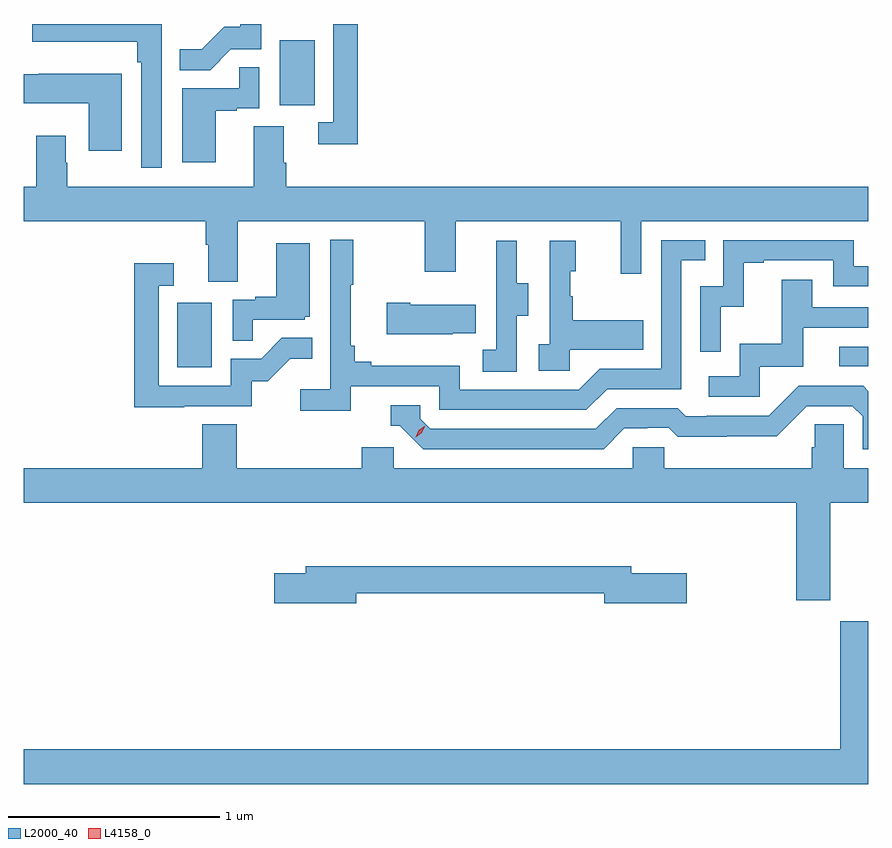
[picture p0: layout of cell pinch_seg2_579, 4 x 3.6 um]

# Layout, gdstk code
import gdstk
lib = gdstk.Library(unit=1e-6, precision=1e-09)
def R(c, l, rs):  # rectangles x0, y0, x1, y1
    for r in rs: c.add(gdstk.rectangle(r[:2], r[2:], *l))
def P(c, l, *ps):  # polygons
    for p in ps: c.add(gdstk.Polygon(p, *l))
L2000_40 = (2000, 40)
L4158_0 = (4158, 0)

pinch_seg2_579 = lib.new_cell('pinch_seg2_579')
R(pinch_seg2_579, L2000_40, [(1060.202,624.3,1060.366,624.607), (1063.335,624.306,1063.474,624.399), (1060.688,625.542,1060.852,625.849)])
P(pinch_seg2_579, L2000_40, [(1060.128,625.926),(1059.516,625.926),(1059.516,625.841),(1060.012,625.841),(1060.012,625.745),(1060.032,625.745),(1060.032,625.245),(1060.128,625.245)],
  [(1060.455,625.806),(1060.599,625.806),(1060.599,625.926),(1060.501,625.926),(1060.501,625.914),(1060.424,625.914),(1060.317,625.807),(1060.213,625.807),(1060.213,625.708),(1060.357,625.708)],
  [(1061.057,625.926),(1060.941,625.926),(1060.941,625.461),(1060.869,625.461),(1060.869,625.356),(1061.057,625.356)],
  [(1060.384,625.515),(1060.484,625.515),(1060.484,625.527),(1060.59,625.527),(1060.59,625.721),(1060.495,625.721),(1060.495,625.623),(1060.226,625.623),(1060.226,625.272),(1060.384,625.272)],
  [(1059.94,625.69),(1059.547,625.69),(1059.547,625.687),(1059.474,625.687),(1059.474,625.55),(1059.782,625.55),(1059.782,625.326),(1059.94,625.326)],
  [(1060.489,624.992),(1061.374,624.992),(1061.374,624.753),(1061.521,624.753),(1061.521,624.992),(1062.302,624.992),(1062.302,624.744),(1062.399,624.744),(1062.399,624.992),(1063.474,624.992),(1063.474,625.156),(1060.718,625.156),(1060.718,625.268),(1060.705,625.268),(1060.705,625.442),(1060.565,625.442),(1060.565,625.156),(1059.681,625.156),(1059.681,625.268),(1059.673,625.268),(1059.673,625.396),(1059.533,625.396),(1059.533,625.156),(1059.474,625.156),(1059.474,624.992),(1060.337,624.992),(1060.337,624.88),(1060.349,624.88),(1060.349,624.706),(1060.489,624.706)],
  [(1061.024,624.21),(1061.442,624.21),(1061.442,624.099),(1062.139,624.099),(1062.238,624.198),(1062.588,624.198),(1062.588,624.807),(1062.701,624.807),(1062.701,624.903),(1062.492,624.903),(1062.492,624.294),(1062.201,624.294),(1062.102,624.195),(1061.538,624.195),(1061.538,624.307),(1061.119,624.307),(1061.119,624.326),(1061.042,624.326),(1061.042,624.403),(1061.023,624.403),(1061.023,624.691),(1061.035,624.691),(1061.035,624.904),(1060.926,624.904),(1060.926,624.196),(1060.785,624.196),(1060.785,624.094),(1061.024,624.094)],
  [(1062.774,624.587),(1062.884,624.587),(1062.884,624.795),(1062.979,624.795),(1062.979,624.807),(1063.308,624.807),(1063.308,624.684),(1063.474,624.684),(1063.474,624.78),(1063.404,624.78),(1063.404,624.903),(1062.786,624.903),(1062.786,624.684),(1062.678,624.684),(1062.678,624.375),(1062.774,624.375)],
  [(1062.06,624.383),(1062.407,624.383),(1062.407,624.523),(1062.073,624.523),(1062.073,624.638),(1062.063,624.638),(1062.063,624.756),(1062.088,624.756),(1062.088,624.901),(1061.964,624.901),(1061.964,624.41),(1061.913,624.41),(1061.913,624.285),(1062.06,624.285)],
  [(1061.808,624.544),(1061.863,624.544),(1061.863,624.699),(1061.809,624.699),(1061.809,624.901),(1061.711,624.901),(1061.711,624.687),(1061.712,624.687),(1061.712,624.383),(1061.649,624.383),(1061.649,624.28),(1061.808,624.28)],
  [(1060.559,624.525),(1060.806,624.525),(1060.806,624.54),(1060.828,624.54),(1060.828,624.889),(1060.67,624.889),(1060.67,624.634),(1060.571,624.634),(1060.571,624.621),(1060.464,624.621),(1060.464,624.427),(1060.559,624.427)],
  [(1060.235,624.117),(1060.554,624.117),(1060.554,624.234),(1060.63,624.234),(1060.737,624.341),(1060.841,624.341),(1060.841,624.44),(1060.697,624.44),(1060.599,624.342),(1060.455,624.342),(1060.455,624.213),(1060.113,624.213),(1060.113,624.687),(1060.186,624.687),(1060.186,624.793),(1059.997,624.793),(1059.997,624.112),(1060.235,624.112)],
  [(1062.96,624.303),(1063.165,624.303),(1063.165,624.489),(1063.474,624.489),(1063.474,624.585),(1063.207,624.585),(1063.207,624.715),(1063.063,624.715),(1063.063,624.412),(1062.864,624.412),(1062.864,624.258),(1062.717,624.258),(1062.717,624.162),(1062.96,624.162)],
  [(1061.507,624.461),(1061.615,624.461),(1061.615,624.598),(1061.305,624.598),(1061.305,624.606),(1061.193,624.606),(1061.193,624.458),(1061.507,624.458)],
  [(1062.319,624.012),(1062.426,624.012),(1062.426,624.015),(1062.529,624.015),(1062.571,623.973),(1062.804,623.973),(1062.804,623.975),(1063.04,623.975),(1063.182,624.117),(1063.398,624.117),(1063.446,624.069),(1063.446,623.913),(1063.474,623.913),(1063.474,624.188),(1063.449,624.213),(1063.143,624.213),(1063.002,624.072),(1062.709,624.072),(1062.709,624.069),(1062.61,624.069),(1062.571,624.108),(1062.282,624.108),(1062.183,624.009),(1061.4,624.009),(1061.352,624.057),(1061.352,624.12),(1061.213,624.12),(1061.213,624.024),(1061.256,624.024),(1061.367,623.913),(1062.22,623.913)],
  [(1063.293,623.66),(1063.474,623.66),(1063.474,623.824),(1063.356,623.824),(1063.356,624.032),(1063.219,624.032),(1063.219,623.922),(1063.205,623.922),(1063.205,623.824),(1062.507,623.824),(1062.507,623.922),(1062.357,623.922),(1062.357,623.824),(1061.226,623.824),(1061.226,623.922),(1061.075,623.922),(1061.075,623.824),(1060.484,623.824),(1060.484,624.032),(1060.319,624.032),(1060.319,623.824),(1059.474,623.824),(1059.474,623.66),(1063.133,623.66),(1063.133,623.199),(1063.293,623.199)],
  [(1061.05,623.23),(1062.224,623.23),(1062.224,623.183),(1062.613,623.183),(1062.613,623.325),(1062.352,623.325),(1062.352,623.359),(1060.811,623.359),(1060.811,623.325),(1060.662,623.325),(1060.662,623.183),(1061.05,623.183)],
  [(1063.474,623.098),(1063.34,623.098),(1063.34,622.492),(1059.474,622.492),(1059.474,622.328),(1063.474,622.328)])
P(pinch_seg2_579, L4158_0, [(1061.33,623.97),(1061.33,623.97),(1061.346,624.003),(1061.376,624.023),(1061.376,624.023),(1061.376,624.023),(1061.36,623.99),(1061.33,623.97)])

lib.write_gds('pinch_seg2_579.gds')
